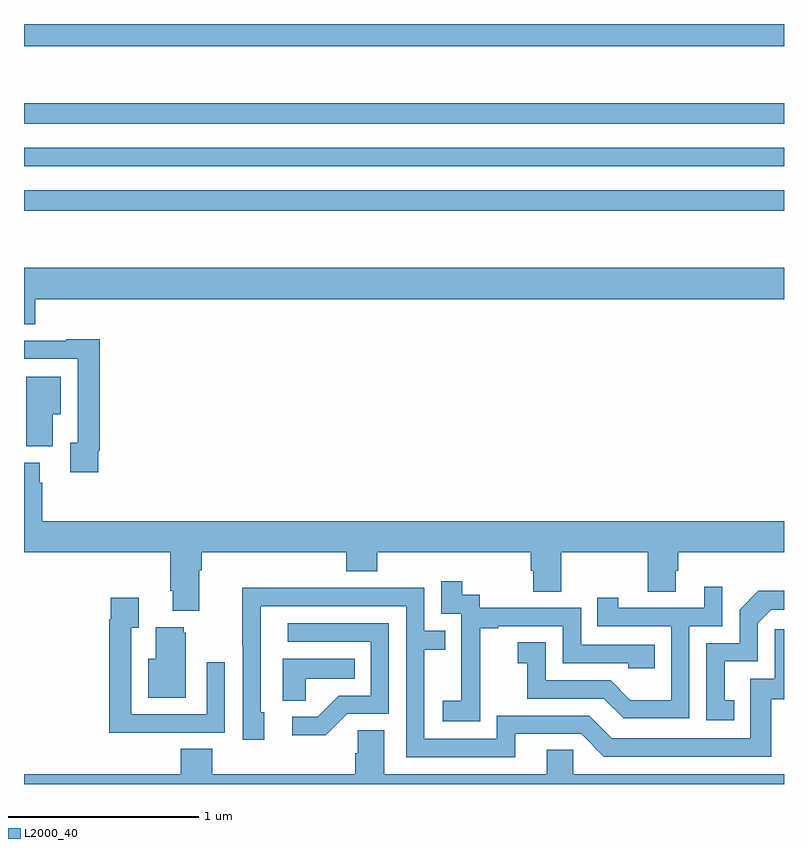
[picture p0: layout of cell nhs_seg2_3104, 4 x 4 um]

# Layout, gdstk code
import gdstk
lib = gdstk.Library(unit=1e-6, precision=1e-09)
def R(c, l, rs):  # rectangles x0, y0, x1, y1
    for r in rs: c.add(gdstk.rectangle(r[:2], r[2:], *l))
def P(c, l, *ps):  # polygons
    for p in ps: c.add(gdstk.Polygon(p, *l))
L2000_40 = (2000, 40)

nhs_seg2_3104 = lib.new_cell('nhs_seg2_3104')
R(nhs_seg2_3104, L2000_40, [(275,598.818,279,598.926), (275,599.052,279,599.148), (275,599.274,279,599.383), (275,599.684,279,599.8)])
P(nhs_seg2_3104, L2000_40, [(275.06,598.352),(279,598.352),(279,598.516),(275,598.516),(275,598.219),(275.06,598.219)],
  [(275.392,597.553),(275.399,597.553),(275.399,598.141),(275.223,598.141),(275.223,598.134),(275,598.134),(275,598.038),(275.283,598.038),(275.283,597.597),(275.243,597.597),(275.243,597.441),(275.392,597.441)],
  [(275.152,597.746),(275.194,597.746),(275.194,597.943),(275.012,597.943),(275.012,597.577),(275.152,597.577)],
  [(275.923,596.924),(275.936,596.924),(275.936,597.02),(276.695,597.02),(276.695,596.921),(276.86,596.921),(276.86,597.02),(277.667,597.02),(277.667,596.922),(277.679,596.922),(277.679,596.812),(277.827,596.812),(277.827,597.02),(278.284,597.02),(278.284,596.812),(278.431,596.812),(278.431,596.922),(278.444,596.922),(278.444,597.02),(279,597.02),(279,597.184),(275.096,597.184),(275.096,597.386),(275.083,597.386),(275.083,597.492),(275,597.492),(275,597.02),(275.771,597.02),(275.771,596.818),(275.783,596.818),(275.783,596.711),(275.923,596.711)],
  [(277.401,596.335),(277.4,596.335),(277.4,596.619),(277.495,596.619),(277.495,596.631),(277.836,596.631),(277.836,596.436),(278.181,596.436),(278.181,596.409),(278.321,596.409),(278.321,596.532),(277.932,596.532),(277.932,596.727),(277.398,596.727),(277.398,596.796),(277.306,596.796),(277.306,596.866),(277.197,596.866),(277.197,596.697),(277.302,596.697),(277.302,596.468),(277.301,596.468),(277.301,596.239),(277.203,596.239),(277.203,596.129),(277.401,596.129)],
  [(278.502,596.631),(278.676,596.631),(278.676,596.839),(278.579,596.839),(278.579,596.727),(278.128,596.727),(278.128,596.779),(278.017,596.779),(278.017,596.631),(278.406,596.631),(278.406,596.242),(278.192,596.242),(278.088,596.346),(277.746,596.346),(277.746,596.545),(277.599,596.545),(277.599,596.435),(277.648,596.435),(277.648,596.25),(278.051,596.25),(278.156,596.145),(278.502,596.145)],
  [(277.585,596.064),(277.932,596.064),(278.052,595.944),(278.932,595.944),(278.932,596.247),(279,596.247),(279,596.614),(278.952,596.614),(278.952,596.355),(278.823,596.355),(278.823,596.04),(278.094,596.04),(277.974,596.16),(277.488,596.16),(277.488,596.037),(277.107,596.037),(277.107,596.506),(277.217,596.506),(277.217,596.607),(277.107,596.607),(277.107,596.832),(276.611,596.832),(276.611,596.834),(276.148,596.834),(276.148,596.527),(276.15,596.527),(276.15,596.034),(276.265,596.034),(276.265,596.178),(276.246,596.178),(276.246,596.736),(277.011,596.736),(277.011,595.941),(277.585,595.941)],
  [(278.738,596.241),(278.689,596.241),(278.689,596.445),(278.862,596.445),(278.862,596.646),(278.934,596.718),(279,596.718),(279,596.816),(278.864,596.816),(278.766,596.718),(278.766,596.541),(278.592,596.541),(278.592,596.136),(278.738,596.136)],
  [(275.741,596.07),(276.057,596.07),(276.057,596.44),(275.961,596.44),(275.961,596.166),(275.565,596.166),(275.565,596.623),(275.605,596.623),(275.605,596.779),(275.457,596.779),(275.457,596.666),(275.449,596.666),(275.449,596.069),(275.741,596.069)],
  [(276.702,596.169),(276.921,596.169),(276.921,596.646),(276.387,596.646),(276.387,596.55),(276.825,596.55),(276.825,596.265),(276.656,596.265),(276.545,596.154),(276.411,596.154),(276.411,596.057),(276.589,596.057)],
  [(275.851,596.595),(275.84,596.595),(275.84,596.626),(275.693,596.626),(275.693,596.458),(275.654,596.458),(275.654,596.255),(275.851,596.255)],
  [(276.483,596.354),(276.74,596.354),(276.74,596.458),(276.362,596.458),(276.362,596.239),(276.483,596.239)],
  [(279,595.852),(277.89,595.852),(277.89,595.979),(277.751,595.979),(277.751,595.852),(276.895,595.852),(276.895,596.084),(276.756,596.084),(276.756,595.961),(276.743,595.961),(276.743,595.852),(275.99,595.852),(275.99,595.985),(275.825,595.985),(275.825,595.852),(275,595.852),(275,595.8),(279,595.8)])

lib.write_gds('nhs_seg2_3104.gds')
